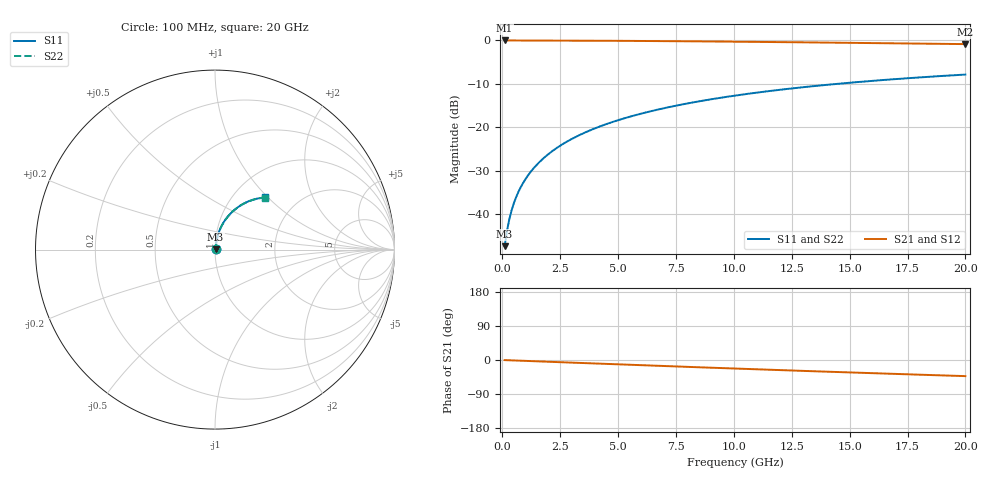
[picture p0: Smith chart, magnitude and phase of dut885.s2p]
! Touchstone file exported from HFSS 2026.1.0
!  File:  C:/ffzhzh/LocalFiles/Ansys_Project_Files/temp_train_BSMRDL_885_1783171155_22436.aedt
!  Generated:  09:20:30 PM Jul  4, 2026
!  Design:  BSMRDL
!  Project:  temp_train_BSMRDL_885_1783171155_22436
! Variables:
!  h_bsmrdl = 3.03um
!  h_ox = 20um
!  h_rdl = 5um
!  h_sub = 80um
!  h_tmrdl = 5um
!  h_tsv = 80um
!  h_via = 3um
!  l_bsmrdl = 603.27um
!  l_sub = 1003.27um
!  l_tmrdl = 200um
!  m_sub = 200um
!  pitch = 52.14um
!  r_tsv = 6um
!  s_tmrdl = 10um
!  w_bsmrdl = 22.83um
!  w_sub = 500um
!  w_tmrdl = 12um
!  x_tsv_center1 = 206um
!  x_tsv_center2 = 832.1um
!  x_tsv_center3 = 1044.1um
!  x_tsv_center4 = 1670.2um
!  x_tsv_center5 = 1882.2um
!  x_tsv_center6 = 2508.3um
# GHz S MA R 50.000000
! Terminal data exported
! Port[1] = BSM_RDL1_1_T1
! Port[2] = BSM_RDL1_1_T2
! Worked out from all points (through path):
!   200 points, 100 MHz to 20 GHz, reference 50 ohm
!   highest |S21| = -0.03 dB at 100 MHz (marker M1); lowest = -0.9 dB at 20 GHz (marker M2)
!   group delay of S21, straight-line fit = 5.92 ps
!   lowest |S11| = -47.4 dB at 100 MHz (marker M3), VSWR 1.01, Z = 50.3 + j0.268 ohm
!   |S11| at or under -10 dB: start of sweep to 14.52 GHz
!   |S22| runs from -47.4 to -7.9 dB; largest |S21 - S12| = 3.1e-15
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0.1  0.004258 38.7  0.9967 -0.2  0.9967 -0.2  0.004258 38.7
! Gamma 0 0 0 0
! Port Impedance 50 0 50 0
0.2  0.006311 56.5  0.9965 -0.5  0.9965 -0.5  0.006311 56.5
0.3  0.008617 64.6  0.9964 -0.7  0.9964 -0.7  0.008618 64.6
0.4  0.01097 69.1  0.9962 -1.0  0.9962 -1.0  0.01097 69.1
0.5  0.01332 71.9  0.996 -1.2  0.996 -1.2  0.01333 71.9
0.6  0.01568 73.9  0.9959 -1.4  0.9959 -1.4  0.01568 73.9
0.8  0.02041 76.5  0.9957 -1.9  0.9957 -1.9  0.02041 76.5
1.1  0.02755 78.6  0.9954 -2.6  0.9954 -2.6  0.02755 78.6
1.3  0.03234 79.3  0.9952 -3.0  0.9952 -3.0  0.03234 79.3
1.6  0.03953 79.9  0.9948 -3.7  0.9948 -3.7  0.03953 79.9
2.1  0.05155 80.1  0.9942 -4.9  0.9942 -4.9  0.05155 80.1
2.7  0.06594 79.7  0.9931 -6.2  0.9931 -6.2  0.06594 79.6
3.5  0.08502 78.6  0.9914 -8.1  0.9914 -8.1  0.08502 78.6
4.2  0.1016 77.4  0.9896 -9.7  0.9896 -9.7  0.1016 77.3
5  0.1202 75.9  0.9871 -11.5  0.9871 -11.5  0.1202 75.8
5.9  0.1409 74.1  0.984 -13.5  0.984 -13.5  0.1409 74.0
6.8  0.1612 72.2  0.9804 -15.5  0.9804 -15.5  0.1612 72.2
8.3  0.1941 69.1  0.9738 -18.8  0.9738 -18.8  0.1941 69.1
10.1  0.2319 65.4  0.9647 -22.7  0.9647 -22.7  0.2319 65.3
13.4  0.2961 58.7  0.946 -29.6  0.946 -29.6  0.2961 58.6
16.7  0.3533 52.3  0.9255 -36.2  0.9255 -36.2  0.3533 52.1
20  0.4033 46.1  0.9046 -42.5  0.9046 -42.5  0.4033 45.9
